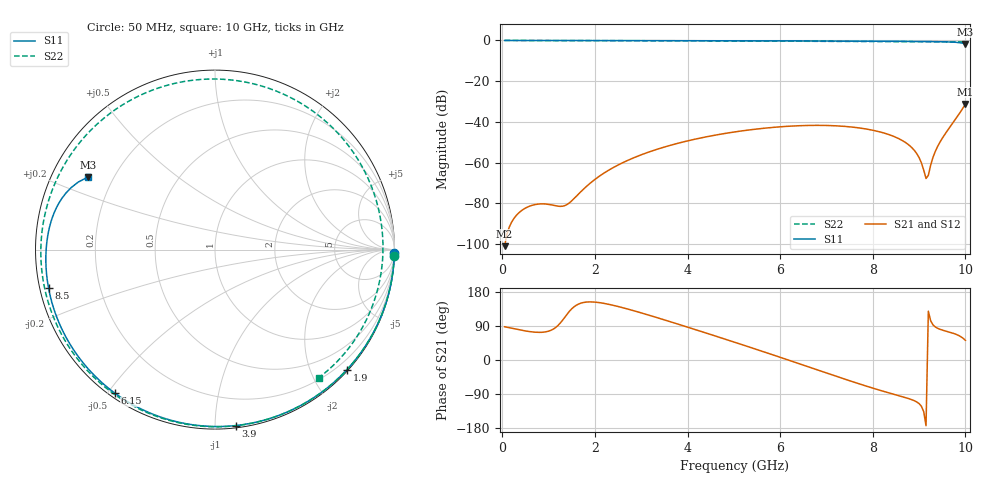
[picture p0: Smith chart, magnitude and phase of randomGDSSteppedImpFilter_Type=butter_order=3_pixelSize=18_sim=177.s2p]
! freq	dB(S11)	phase(S11)	dB(S12)	phase(S12)
!  dB(S21)	phase(S21)	dB(S22)	phase(S22)
!S-par simulation data
#  GHz  S  DB  R 50
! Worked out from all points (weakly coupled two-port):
!   200 points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, 50 MHz to 10 GHz, reference 50 ohm
!   highest |S21| = -31.27 dB at 10 GHz (marker M1); lowest = -101.1 dB at 50 MHz (marker M2)
!   lowest |S11| = -1.8 dB at 10 GHz (marker M3), VSWR 9.83, Z = 5.44 + j13.1 ohm
!   |S11| at or under -10 dB: nowhere
!   |S22| runs from -0.7 to 0.0 dB; largest |S21 - S12| = 0
!   S11 on the Smith chart (normalised r, x): 50 MHz: open; 1.9 GHz: 0.02, -2.59; 3.9 GHz: 0.01, -1.12; 6.15 GHz: 0.02, -0.52; 8.5 GHz: 0.02, -0.11; 10 GHz: 0.11, +0.26
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0.05  -0.00 -1.2  -101.07 87.7  -101.07 87.7  -0.01 -1.9
0.7  -0.02 -15.9  -80.68 73.5  -80.68 73.5  -0.03 -26.3
1.4  -0.04 -31.4  -80.59 121.0  -80.59 121.0  -0.07 -51.9
1.75  -0.05 -39.0  -73.14 151.7  -73.14 151.7  -0.08 -64.5
1.9  -0.05 -42.3  -70.10 153.3  -70.10 153.3  -0.09 -69.8
2.55  -0.07 -56.1  -60.63 139.6  -60.63 139.6  -0.12 -92.4
3.4  -0.10 -73.4  -53.05 109.6  -53.05 109.6  -0.15 -121.4
3.9  -0.11 -83.3  -49.90 90.6  -49.90 90.6  -0.18 -138.5
5.05  -0.16 -105.0  -44.83 45.6  -44.83 45.6  -0.26 -179.3
6.15  -0.22 -124.8  -42.20 1.0  -42.20 1.0  -0.35 136.6
6.7  -0.26 -134.5  -41.73 -21.8  -41.73 -21.8  -0.40 111.7
7.5  -0.32 -148.6  -42.43 -54.7  -42.43 -54.7  -0.47 71.8
8.35  -0.41 -164.1  -46.26 -86.9  -46.26 -86.9  -0.53 27.2
8.5  -0.43 -166.9  -47.59 -92.1  -47.59 -92.1  -0.54 19.4
8.95  -0.49 -175.8  -55.60 -110.8  -55.60 -110.8  -0.58 -3.5
9.05  -0.51 -177.9  -60.11 -121.9  -60.11 -121.9  -0.59 -8.4
9.15  -0.53 180.0  -67.82 -173.3  -67.82 -173.3  -0.60 -13.2
9.2  -0.54 178.8  -66.27 128.8  -66.27 128.8  -0.61 -15.6
9.3  -0.57 176.5  -57.46 92.8  -57.46 92.8  -0.62 -20.3
9.4  -0.60 174.1  -52.09 83.7  -52.09 83.7  -0.63 -25.0
9.8  -0.92 161.5  -38.28 67.7  -38.28 67.7  -0.70 -42.7
10  -1.77 150.3  -31.27 51.8  -31.27 51.8  -0.73 -51.0
